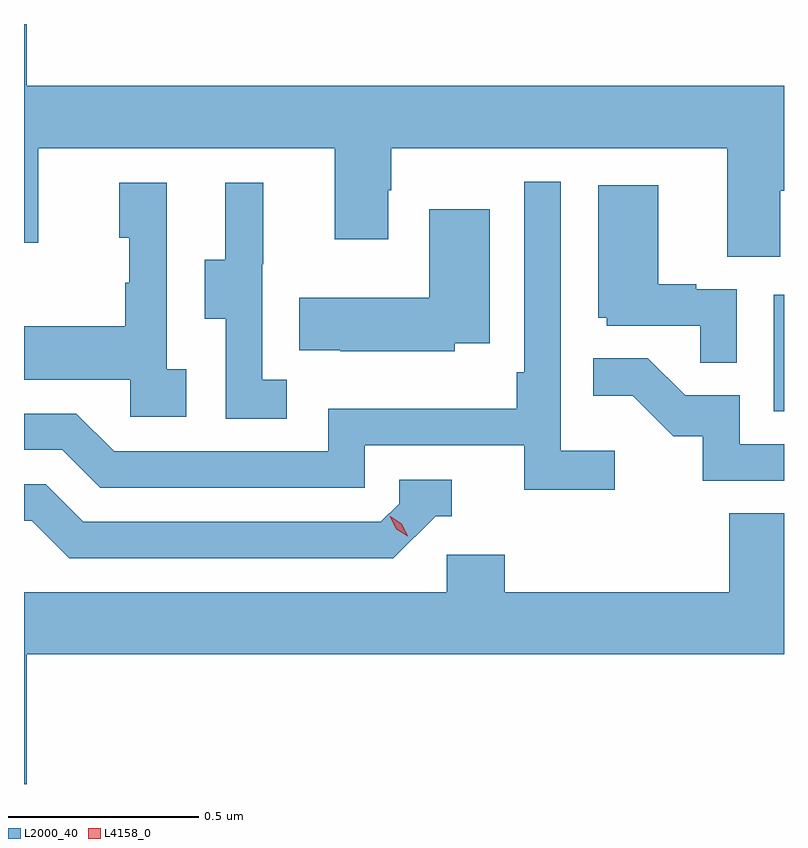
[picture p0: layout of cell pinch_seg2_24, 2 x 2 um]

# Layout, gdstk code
import gdstk
lib = gdstk.Library(unit=1e-6, precision=1e-09)
def R(c, l, rs):  # rectangles x0, y0, x1, y1
    for r in rs: c.add(gdstk.rectangle(r[:2], r[2:], *l))
def P(c, l, *ps):  # polygons
    for p in ps: c.add(gdstk.Polygon(p, *l))
L2000_40 = (2000, 40)
L4158_0 = (4158, 0)

pinch_seg2_24 = lib.new_cell('pinch_seg2_24')
R(pinch_seg2_24, L2000_40, [(1114.19,650.94,1114.217,651.247)])
P(pinch_seg2_24, L2000_40, [(1114.207,651.52),(1114.217,651.52),(1114.217,651.796),(1112.224,651.796),(1112.224,651.959),(1112.217,651.959),(1112.217,651.384),(1112.255,651.384),(1112.255,651.632),(1113.035,651.632),(1113.035,651.393),(1113.175,651.393),(1113.175,651.521),(1113.183,651.521),(1113.183,651.632),(1114.067,651.632),(1114.067,651.346),(1114.207,651.346)],
  [(1113.772,650.836),(1113.63,650.836),(1113.63,651.544),(1113.534,651.544),(1113.534,651.043),(1113.514,651.043),(1113.514,650.947),(1113.018,650.947),(1113.018,650.835),(1112.454,650.835),(1112.355,650.934),(1112.217,650.934),(1112.217,650.838),(1112.318,650.838),(1112.417,650.739),(1113.114,650.739),(1113.114,650.85),(1113.533,650.85),(1113.533,650.734),(1113.772,650.734)],
  [(1112.644,651.05),(1112.592,651.05),(1112.592,651.541),(1112.468,651.541),(1112.468,651.396),(1112.494,651.396),(1112.494,651.278),(1112.484,651.278),(1112.484,651.163),(1112.217,651.163),(1112.217,651.023),(1112.496,651.023),(1112.496,650.925),(1112.644,650.925)],
  [(1112.908,651.023),(1112.844,651.023),(1112.844,651.327),(1112.846,651.327),(1112.846,651.541),(1112.747,651.541),(1112.747,651.339),(1112.693,651.339),(1112.693,651.184),(1112.748,651.184),(1112.748,650.92),(1112.908,650.92)],
  [(1114.092,651.261),(1113.986,651.261),(1113.986,651.274),(1113.886,651.274),(1113.886,651.535),(1113.728,651.535),(1113.728,651.186),(1113.75,651.186),(1113.75,651.165),(1113.997,651.165),(1113.997,651.067),(1114.092,651.067)],
  [(1113.351,651.119),(1113.442,651.119),(1113.442,651.472),(1113.284,651.472),(1113.284,651.238),(1112.941,651.238),(1112.941,651.101),(1113.049,651.101),(1113.049,651.098),(1113.351,651.098)],
  [(1114.217,650.853),(1114.101,650.853),(1114.101,650.982),(1113.957,650.982),(1113.859,651.08),(1113.715,651.08),(1113.715,650.981),(1113.819,650.981),(1113.926,650.874),(1114.003,650.874),(1114.003,650.757),(1114.217,650.757)],
  [(1113.3,650.664),(1113.343,650.664),(1113.343,650.76),(1113.204,650.76),(1113.204,650.697),(1113.156,650.649),(1112.373,650.649),(1112.274,650.748),(1112.217,650.748),(1112.217,650.652),(1112.237,650.652),(1112.336,650.553),(1113.189,650.553)],
  [(1112.224,650.3),(1114.217,650.3),(1114.217,650.672),(1114.073,650.672),(1114.073,650.464),(1113.482,650.464),(1113.482,650.562),(1113.33,650.562),(1113.33,650.464),(1112.217,650.464),(1112.217,649.959),(1112.224,649.959)])
P(pinch_seg2_24, L4158_0, [(1113.227,650.611),(1113.196,650.63),(1113.18,650.663),(1113.18,650.663),(1113.181,650.663),(1113.211,650.644),(1113.227,650.611),(1113.227,650.611)])

lib.write_gds('pinch_seg2_24.gds')
